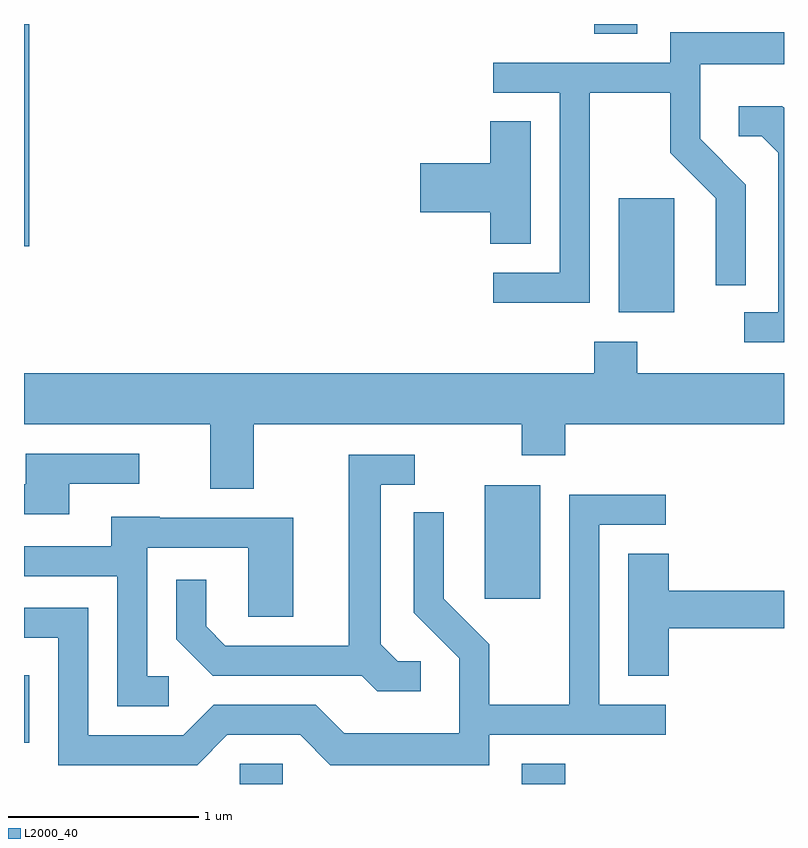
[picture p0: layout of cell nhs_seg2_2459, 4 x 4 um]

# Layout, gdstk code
import gdstk
lib = gdstk.Library(unit=1e-6, precision=1e-09)
def R(c, l, rs):  # rectangles x0, y0, x1, y1
    for r in rs: c.add(gdstk.rectangle(r[:2], r[2:], *l))
def P(c, l, *ps):  # polygons
    for p in ps: c.add(gdstk.Polygon(p, *l))
L2000_40 = (2000, 40)

nhs_seg2_2459 = lib.new_cell('nhs_seg2_2459')
R(nhs_seg2_2459, L2000_40, [(258.746,999.802,258.974,999.909), (260.231,999.802,260.459,999.909), (257.611,1000.018,257.639,1000.374), (260.036,1000.776,260.329,1001.374), (260.741,1002.286,261.034,1002.884), (257.611,1002.631,257.639,1003.802), (260.611,1003.751,260.839,1003.802)])
P(nhs_seg2_2459, L2000_40, [(260.589,1003.441),(261.011,1003.441),(261.011,1003.124),(261.251,1002.884),(261.251,1002.428),(261.409,1002.428),(261.409,1002.957),(261.169,1003.197),(261.169,1003.591),(261.611,1003.591),(261.611,1003.759),(261.011,1003.759),(261.011,1003.599),(260.082,1003.599),(260.082,1003.441),(260.431,1003.441),(260.431,1002.494),(260.082,1002.494),(260.082,1002.336),(260.589,1002.336)],
  [(261.611,1003.36),(261.602,1003.369),(261.373,1003.369),(261.373,1003.211),(261.493,1003.211),(261.581,1003.124),(261.581,1002.284),(261.403,1002.284),(261.403,1002.126),(261.611,1002.126)],
  [(260.279,1003.289),(260.066,1003.289),(260.066,1003.069),(259.696,1003.069),(259.696,1002.811),(260.066,1002.811),(260.066,1002.646),(260.279,1002.646)],
  [(257.611,1001.696),(258.591,1001.696),(258.591,1001.356),(258.819,1001.356),(258.819,1001.696),(260.231,1001.696),(260.231,1001.531),(260.459,1001.531),(260.459,1001.696),(261.611,1001.696),(261.611,1001.964),(260.839,1001.964),(260.839,1002.129),(260.611,1002.129),(260.611,1001.964),(257.611,1001.964)],
  [(257.849,1001.381),(258.218,1001.381),(258.218,1001.539),(257.621,1001.539),(257.621,1001.379),(257.611,1001.379),(257.611,1001.221),(257.849,1001.221)],
  [(259.698,1000.449),(259.577,1000.449),(259.489,1000.537),(259.489,1001.376),(259.668,1001.376),(259.668,1001.534),(259.321,1001.534),(259.321,1000.529),(258.671,1000.529),(258.569,1000.632),(258.569,1000.878),(258.411,1000.878),(258.411,1000.564),(258.604,1000.371),(259.389,1000.371),(259.469,1000.291),(259.698,1000.291)],
  [(258.682,1000.061),(259.064,1000.061),(259.224,999.901),(260.059,999.901),(260.059,1000.061),(260.988,1000.061),(260.988,1000.219),(260.639,1000.219),(260.639,1001.166),(260.988,1001.166),(260.988,1001.324),(260.481,1001.324),(260.481,1000.219),(260.059,1000.219),(260.059,1000.537),(259.819,1000.777),(259.819,1001.233),(259.661,1001.233),(259.661,1000.704),(259.901,1000.464),(259.901,1000.069),(259.296,1000.069),(259.147,1000.219),(258.609,1000.219),(258.449,1000.059),(257.949,1000.059),(257.949,1000.729),(257.611,1000.729),(257.611,1000.571),(257.791,1000.571),(257.791,999.901),(258.522,999.901)],
  [(258.373,1000.369),(258.259,1000.369),(258.259,1001.046),(258.791,1001.046),(258.791,1000.681),(259.029,1000.681),(259.029,1001.204),(258.325,1001.204),(258.325,1001.209),(258.071,1001.209),(258.071,1001.054),(257.611,1001.054),(257.611,1000.896),(258.101,1000.896),(258.101,1000.211),(258.373,1000.211)],
  [(261.004,1000.621),(261.611,1000.621),(261.611,1000.819),(261.004,1000.819),(261.004,1001.014),(260.791,1001.014),(260.791,1000.371),(261.004,1000.371)])

lib.write_gds('nhs_seg2_2459.gds')
